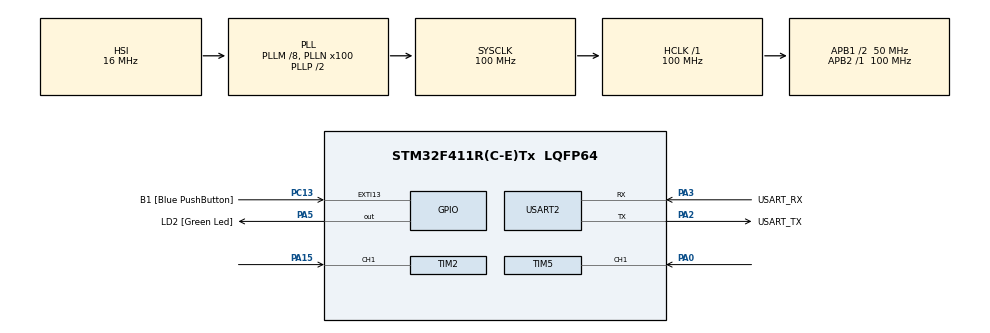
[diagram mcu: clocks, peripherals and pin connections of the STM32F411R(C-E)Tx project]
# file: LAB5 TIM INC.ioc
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Mcu.Family=STM32F4
VP_TIM5_VS_ClockSourceINT.Mode=Internal
RCC.CortexFreq_Value=100000000
TIM2.Channel-Input_Capture1_from_TI1=TIM_CHANNEL_1
NVIC.DMA1_Stream2_IRQn=true\:0\:0\:false\:false\:true\:false\:true
PA14.GPIO_Label=TCK
RCC.SYSCLKSource=RCC_SYSCLKSOURCE_PLLCLK
ProjectManager.StackSize=0x400
Dma.TIM2_CH1.1.FIFOMode=DMA_FIFOMODE_DISABLE
PH0\ -\ OSC_IN.Signal=RCC_OSC_IN
NVIC.TIM5_IRQn=true\:0\:0\:false\:false\:true\:true\:true
Dma.TIM2_CH1.1.Direction=DMA_PERIPH_TO_MEMORY
RCC.HCLKFreq_Value=100000000
RCC.APB2TimFreq_Value=100000000
Dma.TIM5_CH1.0.FIFOMode=DMA_FIFOMODE_DISABLE
RCC.AHBFreq_Value=100000000
RCC.HSE_VALUE=8000000
PC13-ANTI_TAMP.Signal=GPXTI13
Dma.TIM5_CH1.0.PeriphDataAlignment=DMA_PDATAALIGN_HALFWORD
PC14-OSC32_IN.Mode=LSE-External-Oscillator
PA14.Mode=Serial_Wire
NVIC.TIM2_IRQn=true\:0\:0\:false\:false\:true\:true\:true
TIM5.Channel-Input_Capture1_from_TI1=TIM_CHANNEL_1
RCC.FLatency-AdvancedSettings=FLASH_LATENCY_3
Mcu.Package=LQFP64
TIM2.Prescaler=99
Dma.TIM2_CH1.1.MemDataAlignment=DMA_MDATAALIGN_HALFWORD
USART2.VirtualMode=VM_ASYNC
PA2.GPIO_Label=USART_TX
PA15.Signal=S_TIM2_CH1_ETR
Dma.TIM5_CH1.0.MemDataAlignment=DMA_MDATAALIGN_HALFWORD
Dma.TIM2_CH1.1.Priority=DMA_PRIORITY_LOW
Dma.Request1=TIM2_CH1
RCC.APB1TimFreq_Value=100000000
TIM5.ICFilter_CH1=2
SH.S_TIM5_CH1.0=TIM5_CH1,Input_Capture1_from_TI1
Dma.TIM5_CH1.0.Mode=DMA_CIRCULAR
Dma.TIM2_CH1.1.PeriphDataAlignment=DMA_PDATAALIGN_HALFWORD
Dma.Request0=TIM5_CH1
Dma.TIM5_CH1.0.Direction=DMA_PERIPH_TO_MEMORY
PA3.Signal=USART2_RX
PB3.GPIO_Label=SWO
PC15-OSC32_OUT.Mode=LSE-External-Oscillator
Dma.TIM2_CH1.1.MemInc=DMA_MINC_ENABLE
PC13-ANTI_TAMP.GPIO_Label=B1 [Blue PushButton]
PH1\ -\ OSC_OUT.Mode=HSE-External-Clock-Source
RCC.APB1CLKDivider=RCC_HCLK_DIV2
PC14-OSC32_IN.Signal=RCC_OSC32_IN
PA0-WKUP.Signal=S_TIM5_CH1
Dma.TIM5_CH1.0.MemInc=DMA_MINC_ENABLE
PA13.Signal=SYS_JTMS-SWDIO
PA3.Mode=Asynchronous
PH0\ -\ OSC_IN.Mode=HSE-External-Clock-Source
Dma.TIM2_CH1.1.Instance=DMA1_Stream5
ProjectManager.TargetToolchain=STM32CubeIDE
NVIC.DMA1_Stream5_IRQn=true\:0\:0\:false\:false\:true\:false\:true
TIM2.ICFilter_CH1=2
PC15-OSC32_OUT.Signal=RCC_OSC32_OUT
PA5.Signal=GPIO_Output
PH1\ -\ OSC_OUT.Signal=RCC_OSC_OUT
Dma.TIM5_CH1.0.Instance=DMA1_Stream2
board=NUCLEO-F411RE
RCC.VCOOutputFreq_Value=200000000
RCC.APB2Freq_Value=100000000
Dma.TIM2_CH1.1.PeriphInc=DMA_PINC_DISABLE
VP_TIM2_VS_ClockSourceINT.Mode=Internal
PA13.Mode=Serial_Wire
Mcu.Name=STM32F411R(C-E)Tx
PA13.GPIO_Label=TMS
PA2.Signal=USART2_TX
RCC.48MHZClocksFreq_Value=50000000
PB3.Signal=SYS_JTDO-SWO
RCC.SYSCLKFreq_VALUE=100000000
PA5.GPIO_Label=LD2 [Green Led]
TIM5.Prescaler=99
PC13-ANTI_TAMP.GPIO_ModeDefaultEXTI=GPIO_MODE_IT_FALLING
SH.S_TIM2_CH1_ETR.0=TIM2_CH1,Input_Capture1_from_TI1
PA14.Signal=SYS_JTCK-SWCLK
ProjectManager.HeapSize=0x200
Dma.TIM2_CH1.1.Mode=DMA_CIRCULAR
RCC.HSI_VALUE=16000000
NVIC.PriorityGroup=NVIC_PRIORITYGROUP_0
RCC.PLLM=8
RCC.PLLN=100
Dma.TIM5_CH1.0.Priority=DMA_PRIORITY_LOW
PA2.Mode=Asynchronous
RCC.APB1Freq_Value=50000000
Dma.TIM5_CH1.0.PeriphInc=DMA_PINC_DISABLE
PA3.GPIO_Label=USART_RX

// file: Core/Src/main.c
/* USER CODE BEGIN Header */
/**
 ******************************************************************************
 * @file           : main.c
 * @brief          : Main program body
 ******************************************************************************
 * @attention
 *
 * <h2><center>&copy; Copyright (c) 2021 STMicroelectronics.
 * All rights reserved.</center></h2>
 *
 * This software component is licensed by ST under BSD 3-Clause license,
 * the "License"; You may not use this file except in compliance with the
 * License. You may obtain a copy of the License at:
 *                        opensource.org/licenses/BSD-3-Clause
 *
 ******************************************************************************
 */
/* USER CODE END Header */
#include "main.h"

/* USER CODE BEGIN PD */
#define CAPTURENUM 16

/* USER CODE END PD */

TIM_HandleTypeDef htim2;
TIM_HandleTypeDef htim5;
DMA_HandleTypeDef hdma_tim2_ch1;

UART_HandleTypeDef huart2;

/* USER CODE BEGIN PV */

//12 P/R , Gear reduction 1 : 64
//DMA Buffer
uint32_t capturedata[CAPTURENUM] = { 0 };
//diff time of capture data
int32_t DiffTime[CAPTURENUM-1] = { 0 };
//Mean difftime
float MeanTime =0;
int PR = 12; // pulse per revolute
int RPM = 0; // round per minute
int GR = 64; // gear ratio = 64

//for microsecond measurement
uint64_t _micros = 0 ;

/* USER CODE END PV */

void SystemClock_Config(void);
static void MX_GPIO_Init(void);
static void MX_DMA_Init(void);
static void MX_USART2_UART_Init(void);
static void MX_TIM2_Init(void);
static void MX_TIM5_Init(void);
/* USER CODE BEGIN PFP */

//Read speed of encoder
void encoderSpeedReaderCycle();
uint64_t micros();

/* USER CODE END PFP */

int main(void)
{

  /* MCU Configuration--------------------------------------------------------*/

  /* Reset of all peripherals, Initializes the Flash interface and the Systick. */
  HAL_Init();

  /* Configure the system clock */
  SystemClock_Config();

  /* Initialize all configured peripherals */
  MX_GPIO_Init();
  MX_DMA_Init();
  MX_USART2_UART_Init();
  MX_TIM2_Init();
  MX_TIM5_Init();
  /* USER CODE BEGIN 2 */
  	  //start Microsec timer
	HAL_TIM_Base_Start_IT(&htim5);
	//start Input capture in DMA
	HAL_TIM_Base_Start(&htim2);
	HAL_TIM_IC_Start_DMA(&htim2, TIM_CHANNEL_1, (uint32_t*) capturedata,CAPTURENUM);

	uint64_t timestamp = 0;
  /* USER CODE END 2 */

  /* Infinite loop */
  /* USER CODE BEGIN WHILE */
	while (1)
	{
		//read Time of encoder
		encoderSpeedReaderCycle(); // check speed motor

		if(micros() - timestamp > 100000) // uS
		{
			timestamp = micros();
			HAL_GPIO_TogglePin(LD2_GPIO_Port,LD2_Pin);
		}

    /* USER CODE END WHILE */

	}
}

void SystemClock_Config(void)
{
  RCC_OscInitTypeDef RCC_OscInitStruct = {0};
  RCC_ClkInitTypeDef RCC_ClkInitStruct = {0};

  /** Configure the main internal regulator output voltage
  */
  __HAL_RCC_PWR_CLK_ENABLE();
  __HAL_PWR_VOLTAGESCALING_CONFIG(PWR_REGULATOR_VOLTAGE_SCALE1);
  /** Initializes the RCC Oscillators according to the specified parameters
  * in the RCC_OscInitTypeDef structure.
  */
  RCC_OscInitStruct.OscillatorType = RCC_OSCILLATORTYPE_HSI;
  RCC_OscInitStruct.HSIState = RCC_HSI_ON;
  RCC_OscInitStruct.HSICalibrationValue = RCC_HSICALIBRATION_DEFAULT;
  RCC_OscInitStruct.PLL.PLLState = RCC_PLL_ON;
  RCC_OscInitStruct.PLL.PLLSource = RCC_PLLSOURCE_HSI;
  RCC_OscInitStruct.PLL.PLLM = 8;
  RCC_OscInitStruct.PLL.PLLN = 100;
  RCC_OscInitStruct.PLL.PLLP = RCC_PLLP_DIV2;
  RCC_OscInitStruct.PLL.PLLQ = 4;
  if (HAL_RCC_OscConfig(&RCC_OscInitStruct) != HAL_OK)
  {
    Error_Handler();
  }
  /** Initializes the CPU, AHB and APB buses clocks
  */
  RCC_ClkInitStruct.ClockType = RCC_CLOCKTYPE_HCLK|RCC_CLOCKTYPE_SYSCLK
                              |RCC_CLOCKTYPE_PCLK1|RCC_CLOCKTYPE_PCLK2;
  RCC_ClkInitStruct.SYSCLKSource = RCC_SYSCLKSOURCE_PLLCLK;
  RCC_ClkInitStruct.AHBCLKDivider = RCC_SYSCLK_DIV1;
  RCC_ClkInitStruct.APB1CLKDivider = RCC_HCLK_DIV2;
  RCC_ClkInitStruct.APB2CLKDivider = RCC_HCLK_DIV1;

  if (HAL_RCC_ClockConfig(&RCC_ClkInitStruct, FLASH_LATENCY_3) != HAL_OK)
  {
    Error_Handler();
  }
}

static void MX_TIM2_Init(void)
{

  TIM_ClockConfigTypeDef sClockSourceConfig = {0};
  TIM_MasterConfigTypeDef sMasterConfig = {0};
  TIM_IC_InitTypeDef sConfigIC = {0};

  htim2.Instance = TIM2;
  htim2.Init.Prescaler = 99;
  htim2.Init.CounterMode = TIM_COUNTERMODE_UP;
  htim2.Init.Period = 4294967295;
  htim2.Init.ClockDivision = TIM_CLOCKDIVISION_DIV1;
  htim2.Init.AutoReloadPreload = TIM_AUTORELOAD_PRELOAD_DISABLE;
  if (HAL_TIM_Base_Init(&htim2) != HAL_OK)
  {
    Error_Handler();
  }
  sClockSourceConfig.ClockSource = TIM_CLOCKSOURCE_INTERNAL;
  if (HAL_TIM_ConfigClockSource(&htim2, &sClockSourceConfig) != HAL_OK)
  {
    Error_Handler();
  }
  if (HAL_TIM_IC_Init(&htim2) != HAL_OK)
  {
    Error_Handler();
  }
  sMasterConfig.MasterOutputTrigger = TIM_TRGO_RESET;
  sMasterConfig.MasterSlaveMode = TIM_MASTERSLAVEMODE_DISABLE;
  if (HAL_TIMEx_MasterConfigSynchronization(&htim2, &sMasterConfig) != HAL_OK)
  {
    Error_Handler();
  }
  sConfigIC.ICPolarity = TIM_INPUTCHANNELPOLARITY_RISING;
  sConfigIC.ICSelection = TIM_ICSELECTION_DIRECTTI;
  sConfigIC.ICPrescaler = TIM_ICPSC_DIV1;
  sConfigIC.ICFilter = 2;
  if (HAL_TIM_IC_ConfigChannel(&htim2, &sConfigIC, TIM_CHANNEL_1) != HAL_OK)
  {
    Error_Handler();
  }

}

static void MX_TIM5_Init(void)
{

  TIM_ClockConfigTypeDef sClockSourceConfig = {0};
  TIM_MasterConfigTypeDef sMasterConfig = {0};

  htim5.Instance = TIM5;
  htim5.Init.Prescaler = 99;
  htim5.Init.CounterMode = TIM_COUNTERMODE_UP;
  htim5.Init.Period = 4294967295;
  htim5.Init.ClockDivision = TIM_CLOCKDIVISION_DIV1;
  htim5.Init.AutoReloadPreload = TIM_AUTORELOAD_PRELOAD_DISABLE;
  if (HAL_TIM_Base_Init(&htim5) != HAL_OK)
  {
    Error_Handler();
  }
  sClockSourceConfig.ClockSource = TIM_CLOCKSOURCE_INTERNAL;
  if (HAL_TIM_ConfigClockSource(&htim5, &sClockSourceConfig) != HAL_OK)
  {
    Error_Handler();
  }
  sMasterConfig.MasterOutputTrigger = TIM_TRGO_RESET;
  sMasterConfig.MasterSlaveMode = TIM_MASTERSLAVEMODE_DISABLE;
  if (HAL_TIMEx_MasterConfigSynchronization(&htim5, &sMasterConfig) != HAL_OK)
  {
    Error_Handler();
  }

}

static void MX_USART2_UART_Init(void)
{

  huart2.Instance = USART2;
  huart2.Init.BaudRate = 115200;
  huart2.Init.WordLength = UART_WORDLENGTH_8B;
  huart2.Init.StopBits = UART_STOPBITS_1;
  huart2.Init.Parity = UART_PARITY_NONE;
  huart2.Init.Mode = UART_MODE_TX_RX;
  huart2.Init.HwFlowCtl = UART_HWCONTROL_NONE;
  huart2.Init.OverSampling = UART_OVERSAMPLING_16;
  if (HAL_UART_Init(&huart2) != HAL_OK)
  {
    Error_Handler();
  }

}

static void MX_DMA_Init(void)
{

  /* DMA controller clock enable */
  __HAL_RCC_DMA1_CLK_ENABLE();

  /* DMA interrupt init */
  /* DMA1_Stream5_IRQn interrupt configuration */
  HAL_NVIC_SetPriority(DMA1_Stream5_IRQn, 0, 0);
  HAL_NVIC_EnableIRQ(DMA1_Stream5_IRQn);

}

static void MX_GPIO_Init(void)
{
  GPIO_InitTypeDef GPIO_InitStruct = {0};

  /* GPIO Ports Clock Enable */
  __HAL_RCC_GPIOC_CLK_ENABLE();
  __HAL_RCC_GPIOH_CLK_ENABLE();
  __HAL_RCC_GPIOA_CLK_ENABLE();
  __HAL_RCC_GPIOB_CLK_ENABLE();

  /*Configure GPIO pin Output Level */
  HAL_GPIO_WritePin(LD2_GPIO_Port, LD2_Pin, GPIO_PIN_RESET);

  /*Configure GPIO pin : B1_Pin */
  GPIO_InitStruct.Pin = B1_Pin;
  GPIO_InitStruct.Mode = GPIO_MODE_IT_FALLING;
  GPIO_InitStruct.Pull = GPIO_NOPULL;
  HAL_GPIO_Init(B1_GPIO_Port, &GPIO_InitStruct);

  /*Configure GPIO pin : LD2_Pin */
  GPIO_InitStruct.Pin = LD2_Pin;
  GPIO_InitStruct.Mode = GPIO_MODE_OUTPUT_PP;
  GPIO_InitStruct.Pull = GPIO_NOPULL;
  GPIO_InitStruct.Speed = GPIO_SPEED_FREQ_LOW;
  HAL_GPIO_Init(LD2_GPIO_Port, &GPIO_InitStruct);

}

/* USER CODE BEGIN 4 */
void encoderSpeedReaderCycle() {
	//get DMA Position form number of data
	uint32_t CapPos = CAPTURENUM -  __HAL_DMA_GET_COUNTER(htim2.hdma[TIM_DMA_ID_CC1]);
	uint32_t sum = 0 ;

	//calculate diff from all buffer
	for(register int i = 0 ;i < CAPTURENUM - 1;i++)
	{
		DiffTime[i]  = capturedata[(CapPos + 1 + i) % CAPTURENUM] - capturedata[(CapPos + i) % CAPTURENUM];
		//time never go back, but timer can over flow , compensate that
		if (DiffTime[i] < 0)
		{
			DiffTime[i] += 4294967296;
		}
		//Sum all 15 Diff
		sum += DiffTime[i];
	}

	//mean all 15 Diff
	MeanTime = sum / ( float )( CAPTURENUM - 1);
	RPM = 60/(MeanTime*0.000001*PR*GR); //quiz 60/(65535*0.000001*12*64) = ~1.19211109
}

uint64_t micros()
{
	return _micros + htim5.Instance -> CNT;
}

void HAL_TIM_PeriodElapsedCallback(TIM_HandleTypeDef *htim)
{
 if(htim == &htim5)
 {
	 _micros += 4294967296;
 }
}

/* USER CODE END 4 */

void Error_Handler(void)
{
	__disable_irq();
	while (1)
	{
	}
}

/************************ (C) COPYRIGHT STMicroelectronics *****END OF FILE****/
